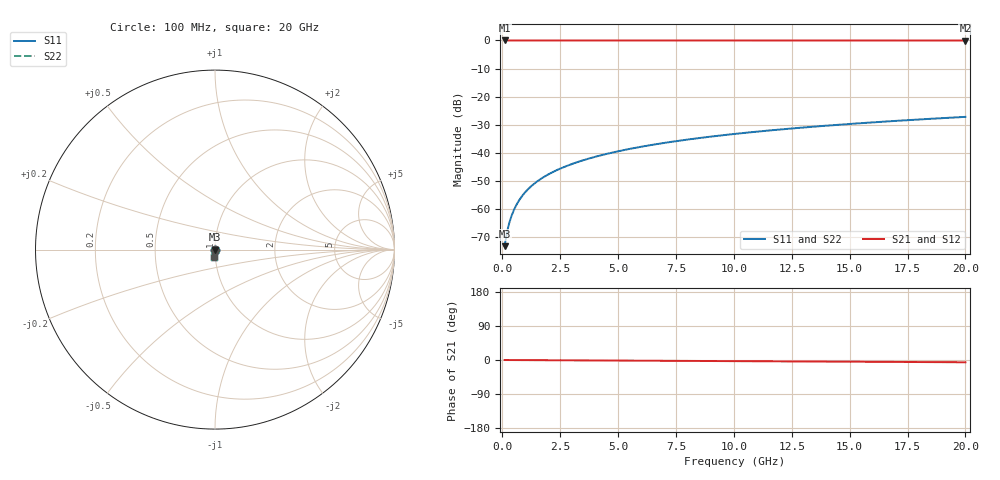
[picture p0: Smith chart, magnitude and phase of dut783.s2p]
! Touchstone file exported from HFSS 2026.1.0
!  File:  C:/ffzhzh/LocalFiles/Ansys_Project_Files/temp_train_TSV_783_1783183722_22436.aedt
!  Generated:  12:49:57 AM Jul  5, 2026
!  Design:  TSV
!  Project:  temp_train_TSV_783_1783183722_22436
! Variables:
!  h_bsmrdl = 2um
!  h_ox = 20um
!  h_rdl = 5um
!  h_sub = 56.86um
!  h_tmrdl = 5um
!  h_tsv = 56.86um
!  h_via = 3um
!  l_bsmrdl = 300um
!  l_sub = 417.6um
!  l_tmrdl = 200um
!  m_sub = 200um
!  pitch = 24.57um
!  r_tsv = 8.8um
!  s_tmrdl = 10um
!  w_bsmrdl = 18um
!  w_sub = 500um
!  w_tmrdl = 12um
!  x_tsv_center1 = 206um
!  x_tsv_center2 = 524um
!  x_tsv_center3 = 736um
!  x_tsv_center4 = 1054um
!  x_tsv_center5 = 1266um
!  x_tsv_center6 = 1584um
# GHz S MA R 50.000000
! Terminal data exported
! Port[1] = TSV1_1_T1
! Port[2] = TSV1_1_T2
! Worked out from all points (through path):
!   200 points, 100 MHz to 20 GHz, reference 50 ohm
!   highest |S21| = 0.00 dB at 100 MHz (marker M1); lowest = 0.0 dB at 20 GHz (marker M2)
!   lowest |S11| = -73.3 dB at 100 MHz (marker M3), VSWR 1.00, Z = 50 - j0.0172 ohm
!   |S11| at or under -10 dB: start of sweep to end of sweep
!   |S22| runs from -73.3 to -27.2 dB; largest |S21 - S12| = 1.7e-15
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0.1  0.0002154 -52.8  0.9999 -0.0  0.9999 -0.0  0.0002154 -52.8
! Gamma 0 0 0 0
! Port Impedance 50 0 50 0
0.2  0.0003772 -67.3  0.9999 -0.1  0.9999 -0.1  0.0003772 -67.3
0.3  0.0005574 -72.5  0.9998 -0.1  0.9998 -0.1  0.0005574 -72.5
0.4  0.0007484 -75.2  0.9998 -0.1  0.9998 -0.1  0.0007484 -75.2
0.5  0.0009473 -76.8  0.9998 -0.2  0.9998 -0.2  0.0009473 -76.8
0.7  0.00136 -79.1  0.9997 -0.2  0.9997 -0.2  0.00136 -79.1
0.8  0.00157 -79.9  0.9997 -0.3  0.9997 -0.3  0.00157 -79.9
1  0.001994 -81.3  0.9997 -0.3  0.9997 -0.3  0.001994 -81.3
1.2  0.00242 -82.4  0.9997 -0.4  0.9997 -0.4  0.00242 -82.4
1.4  0.002847 -83.2  0.9996 -0.4  0.9996 -0.4  0.002847 -83.2
1.7  0.003487 -84.2  0.9996 -0.5  0.9996 -0.5  0.003487 -84.2
2  0.004126 -84.9  0.9996 -0.6  0.9996 -0.6  0.004126 -84.9
2.7  0.005621 -86.1  0.9995 -0.8  0.9995 -0.8  0.005621 -86.1
3.5  0.007337 -87.0  0.9995 -1.1  0.9995 -1.1  0.007337 -87.0
4.2  0.008845 -87.6  0.9994 -1.3  0.9994 -1.3  0.008845 -87.6
5  0.01058 -88.1  0.9993 -1.5  0.9993 -1.5  0.01058 -88.1
6.8  0.0145 -89.1  0.9992 -2.1  0.9992 -2.1  0.0145 -89.1
8.3  0.01778 -89.9  0.999 -2.5  0.999 -2.5  0.01778 -89.9
10.1  0.02172 -90.7  0.9989 -3.0  0.9989 -3.0  0.02172 -90.7
13.4  0.02896 -92.0  0.9985 -4.0  0.9985 -4.0  0.02896 -92.0
16.7  0.03621 -93.2  0.9982 -5.0  0.9982 -5.0  0.03621 -93.2
20  0.04345 -94.3  0.9978 -6.0  0.9978 -6.0  0.04345 -94.3
